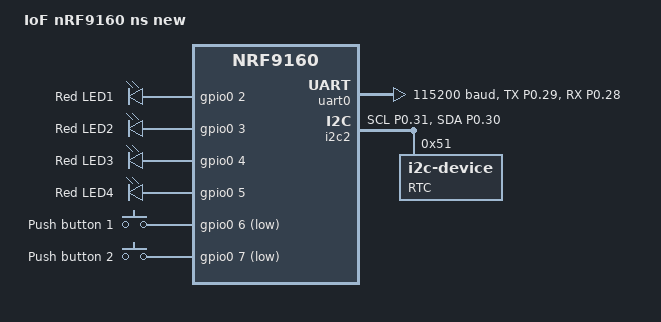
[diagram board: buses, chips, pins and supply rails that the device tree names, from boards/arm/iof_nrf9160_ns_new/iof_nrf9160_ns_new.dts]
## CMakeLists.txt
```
cmake_minimum_required(VERSION 3.20.0)

find_package(Zephyr REQUIRED HINTS $ENV{ZEPHYR_BASE})
project(cellular_fundamentals)

# NORDIC SDK APP START
target_include_directories(app PRIVATE include/)
target_include_directories(app PRIVATE drivers/include/)
target_include_directories(app PRIVATE tasks/MQTT_TASK/)
target_include_directories(app PRIVATE tasks/GNSS_TASK/)
target_include_directories(app PRIVATE tasks/RS485_TASK/)
target_include_directories(app PRIVATE tasks/RTC_TASK/)
target_include_directories(app PRIVATE tasks/TBR_SYNC_TASK/)
target_sources(app PRIVATE drivers/src/mqtt_connection.c)
target_sources(app PRIVATE drivers/src/gnss_connection.c)
target_sources(app PRIVATE drivers/src/rtc.c)
target_sources(app PRIVATE drivers/src/rs485.c)
target_sources(app PRIVATE drivers/src/leds.c)
target_sources(app PRIVATE drivers/src/adc.c)
target_sources(app PRIVATE tasks/MQTT_TASK/mqtt_task.c)
target_sources(app PRIVATE tasks/GNSS_TASK/gnss_task.c)
target_sources(app PRIVATE tasks/RS485_TASK/rs485_task.c)
target_sources(app PRIVATE tasks/RTC_TASK/rtc_task.c)
target_sources(app PRIVATE tasks/TBR_SYNC_TASK/tbr_sync_task.c)

target_sources(app PRIVATE src/main.c)


# NORDIC SDK APP END
```

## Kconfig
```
menu "FishIoT"

config MQTT_PUB_TOPIC
	string "MQTT publish topic"
	default "devacademy/publish/topic"

config MQTT_SUB_TOPIC
	string "MQTT subscribe topic"
	default "devacademy/subscribe/topic"

config MQTT_CLIENT_ID
	string "MQTT Client ID"
	help
	  Use a custom Client ID string. If not set, the client ID will be
	  generated based on IMEI number (for nRF9160 based targets) or
	  randomly (for other platforms).
	default ""

config MQTT_BROKER_HOSTNAME
	string "MQTT broker hostname"
	default "test.mosquitto.org"

config MQTT_BROKER_PORT
	int "MQTT broker port"
	default 1883

config MQTT_MESSAGE_BUFFER_SIZE
	int "MQTT message buffer size"
	default 128

config MQTT_PAYLOAD_BUFFER_SIZE
	int "MQTT payload buffer size"
	default 128

config BUTTON_EVENT_PUBLISH_MSG
	string "The message to publish on a button event"
	default "Hi from the nRF9160 SiP"

config TURN_LED_ON_CMD
	string "Command to turn on LED"
	default "LED1ON"

config TURN_LED_OFF_CMD
	string "Command to turn off LED"
	default "LED1OFF"

config BUTTON_EVENT_BTN_NUM
	int "The button number"
	default 1

config MQTT_RECONNECT_DELAY_S
	int "Seconds to delay before attempting to reconnect to the broker."
	default 60

config MQTT_TLS_SEC_TAG
	int "TLS credentials security tag"
	default 24

config MQTT_TLS_SESSION_CACHING
	bool "Enable TLS session caching"

config MQTT_TLS_PEER_VERIFY
	int "Set peer verification level"
	default 2
	help
		Set to 0 for VERIFY_NONE, 1 for VERIFY_OPTIONAL, and 2 for
		VERIFY_REQUIRED.

config GNSS_SAMPLE_ASSISTANCE_NRF_CLOUD
	bool "Use nRF Cloud A-GNSS"
	select NRF_CLOUD_REST
	imply NRF_CLOUD_AGNSS
	select MODEM_JWT
	select MODEM_INFO
	select DATE_TIME


config GNSS_PERIODIC_INTERVAL
	int "Fix interval for periodic GPS fixes"
	range 10 65535
	default 120
	help
	  Fix interval (in seconds) for periodic fixes.

config GNSS_PERIODIC_TIMEOUT
	int "Fix timeout for periodic GPS fixes"
	range 0 65535
	default 180
	help
	  Fix timeout (in seconds) for periodic fixes.
	  If set to zero, GNSS is allowed to run indefinitely until a valid PVT estimate is produced.
endmenu

source "Kconfig.zephyr"
```

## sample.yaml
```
sample:
  name: FishIoT
tests:
  samples.cellular.fundamentals_course:
    build_only: true
    platform_allow: nrf9160dk_nrf9160_ns thingy91_nrf9160_ns
    integration_platforms:
      - nrf9160dk_nrf9160_ns
      - thingy91_nrf9160_ns
    tags: ci_build
```

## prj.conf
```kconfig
# Logging
CONFIG_LOG=y

# # Button and LED support
# CONFIG_DK_LIBRARY=y

# Newlib
CONFIG_NEWLIB_LIBC=y

# Networking
CONFIG_NETWORKING=y
CONFIG_NET_NATIVE=n
CONFIG_NET_SOCKETS=y
CONFIG_NET_SOCKETS_OFFLOAD=y
CONFIG_NET_SOCKETS_POSIX_NAMES=y

# Memory
CONFIG_MAIN_STACK_SIZE=8192
CONFIG_HEAP_MEM_POOL_SIZE=4096
CONFIG_THREAD_NAME=y
CONFIG_SYSTEM_WORKQUEUE_STACK_SIZE=4096

#i2c
CONFIG_I2C=y

# Modem library
CONFIG_NRF_MODEM_LIB=y

#secure MQTT
CONFIG_MODEM_KEY_MGMT=y
# CONFIG_NRF_MODEM_LIB_SYS_INIT is deprecated, and kept for compatibility with older NCS versions
CONFIG_NRF_MODEM_LIB_SYS_INIT=n

# Enable the nRF9160 modem key management library
# CONFIG_MODEM_KEY_MGMT=y
# LTE link control
CONFIG_LTE_LINK_CONTROL=y
# CONFIG_LTE_AUTO_INIT_AND_CONNECT is deprecated, and kept for compatibility with older NCS versions
CONFIG_LTE_AUTO_INIT_AND_CONNECT=n

# MQTT

CONFIG_MQTT_LIB=y
CONFIG_MQTT_CLEAN_SESSION=y
CONFIG_MQTT_LIB_TLS=y

# Enable TLS for the MQTT library
# Application
CONFIG_MQTT_PUB_TOPIC="p/806"
CONFIG_MQTT_SUB_TOPIC="p/806"
CONFIG_MQTT_BROKER_HOSTNAME="otter.itk.ntnu.no"
CONFIG_MQTT_BROKER_PORT=8883
# CONFIG_MQTT_PUB_TOPIC="test"
# CONFIG_MQTT_SUB_TOPIC="test"
# CONFIG_BUTTON_EVENT_PUBLISH_MSG="Hi from nRF91"
# CONFIG_MQTT_BROKER_HOSTNAME="34.88.147.220"
# CONFIG_MQTT_BROKER_PORT=1883




# Request PSM periodic TAU and active time
CONFIG_LTE_PSM_REQ_RPTAU="00100010" #2hours
CONFIG_LTE_PSM_REQ_RAT="00000010" #4seconds

# Enable the modem’s network mode for GPS
CONFIG_LTE_NETWORK_MODE_LTE_M_NBIOT_GPS=y #defaults to LTE_M as priority
CONFIG_GNSS_PERIODIC_INTERVAL=140
CONFIG_GNSS_PERIODIC_TIMEOUT=360
#enable printing floating-point numbers to console.
CONFIG_NEWLIB_LIBC_FLOAT_PRINTF=y
CONFIG_FPU=y


#enable AGNSS
CONFIG_MODEM_INFO=y
CONFIG_MODEM_INFO_ADD_NETWORK=y
CONFIG_NRF_CLOUD_AGNSS=y
CONFIG_NRF_CLOUD_REST=y
CONFIG_MODEM_JWT=y
CONFIG_NRF_CLOUD_REST_AUTOGEN_JWT=n

CONFIG_NRF_CLOUD_CLIENT_ID_SRC_IMEI=n
CONFIG_NRF_CLOUD_CLIENT_ID_SRC_INTERNAL_UUID=y

CONFIG_NRF_CLOUD_GPS_LOG_LEVEL_DBG=y
CONFIG_NRF_CLOUD_LOG_LEVEL_DBG=y
CONFIG_DATE_TIME=y
CONFIG_DATE_TIME_MODEM=y
CONFIG_DATE_TIME_NTP=y


#DEBUG
CONFIG_DEBUG_OPTIMIZATIONS=y
CONFIG_DEBUG_THREAD_INFO=y

CONFIG_SERIAL=y
CONFIG_UART_INTERRUPT_DRIVEN=y

CONFIG_MODEM_ANTENNA=y
# CONFIG_MODEM_ANTENNA_GNSS_EXTERNAL=y

CONFIG_ADC=y

CONFIG_SYS_HEAP_RUNTIME_STATS=y



CONFIG_BOOT_BANNER=n
CONFIG_REBOOT=y


CONFIG_HWINFO=y
CONFIG_WATCHDOG=y

CONFIG_NRF_MODEM_LIB_ON_FAULT_APPLICATION_SPECIFIC=y
# CONFIG_NRF_MODEM_LIB_ON_FAULT_RESET_MODEM=y


CONFIG_THREAD_ANALYZER=y
CONFIG_THREAD_ANALYZER_AUTO=y

CONFIG_PM_DEVICE=y
# CONFIG_PM_DEVICE_SYSTEM_MANAGED=y
CONFIG_LOG_BUFFER_SIZE=10240
```

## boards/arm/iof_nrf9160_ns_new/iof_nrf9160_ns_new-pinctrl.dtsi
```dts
&pinctrl {
	uart0_default: uart0_default {
		group1 {
			psels = <NRF_PSEL(UART_TX, 0, 29)>, <NRF_PSEL(UART_RX, 0, 28)>,
					<NRF_PSEL(UART_RTS, 0, 27)>, <NRF_PSEL(UART_CTS, 0, 26)>;
		};
	};


    uart0_sleep: uart0_sleep{
        group1{
            psels = <NRF_PSEL(UART_TX, 0, 29)>, 
                    <NRF_PSEL(UART_RX, 0, 28)>,
					<NRF_PSEL(UART_RTS, 0, 27)>,
				 	<NRF_PSEL(UART_CTS, 0, 26)>;
            low-power-enable;
        };



    };


    i2c0_default: i2c0_default {
		group1 {
			psels = <NRF_PSEL(TWIM_SDA, 0, 30)>, <NRF_PSEL(TWIM_SCL, 0, 31)>;
		};
	};

	i2c0_sleep: i2c0_sleep {
		group1 {
			psels = <NRF_PSEL(TWIM_SDA, 0, 30)>, <NRF_PSEL(TWIM_SCL, 0, 31)>;
			low-power-enable;
		};
	};


};
```

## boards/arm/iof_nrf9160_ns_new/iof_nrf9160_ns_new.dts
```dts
// Copyright (c) 2024 Nordic Semiconductor ASA
// SPDX-License-Identifier: Apache-2.0

/dts-v1/;
#include <nordic/nrf9160ns_sica.dtsi>
// #include "iof_nrf9160_ns_new-pinctrl.dtsi"
/ {
	model = "IoF nRF9160 ns new";
	compatible = "ntnu-cybernetics,iof-nrf9160-ns-new";

	chosen {
		zephyr,sram = &sram0;
		zephyr,flash = &flash0;
		zephyr,code-partition = &slot0_ns_partition;
		zephyr,console = &uart0;
		zephyr,shell-uart = &uart0;
		zephyr,uart-mcumgr = &uart0;
	};

	leds {
		compatible = "gpio-leds";
		led1: led_1 {
			gpios = <&gpio0 2 0>;
			label = "Red LED1";
		};

		led2: led_2 {
			gpios = <&gpio0 3 0>;
			label = "Red LED2";
		};

		led3: led_3 {
			gpios = <&gpio0 4 0>;
			label = "Red LED3";
		};

		led4: led_4 {
			gpios = <&gpio0 5 0>;
			label = "Red LED4";
		};
	};

	buttons {
		compatible = "gpio-keys";
		button1: button_1 {
			gpios = <&gpio0 6 (GPIO_ACTIVE_LOW | GPIO_PULL_UP)>;
			label = "Push button 1";
		};

		button2: button_2 {
			gpios = <&gpio0 7 (GPIO_ACTIVE_LOW | GPIO_PULL_UP)>;
			label = "Push button 2";
		};
	};

	aliases {
		led0 = &led1;
		led1 = &led2;
		led2 = &led3;
		led3 = &led4;
		sw0  = &button1;
		sw1  = &button2;
		bootloader-led0 = &led1;
		mcuboot-button0 = &button1;
		mcuboot-led0 = &led1;
		watchdog0 = &wdt0;
	};
};

&flash0 {
	partitions {
		compatible = "fixed-partitions";
		#address-cells = <1>;
		#size-cells = <1>;

		boot_partition: partition@0 {
			label = "mcuboot";
			reg = <0x0 0x10000>;
		};
		slot0_partition: partition@10000 {
			label = "image-0";
			reg = <0x10000 0x40000>;
		};
		slot0_ns_partition: partition@50000 {
			label = "image-0-nonsecure";
			reg = <0x50000 0x30000>;
		};
		slot1_partition: partition@80000 {
			label = "image-1";
			reg = <0x80000 0x40000>;
		};
		slot1_ns_partition: partition@c0000 {
			label = "image-1-nonsecure";
			reg = <0xc0000 0x30000>;
		};
		scratch_partition: partition@f0000 {
			label = "image-scratch";
			reg = <0xf0000 0xa000>;
		};
		storage_partition: partition@fa000 {
			label = "storage";
			reg = <0xfa000 0x6000>;
		};
	};
};


&gpio0 {
	status = "okay";
};

&gpiote {
	status = "okay";
};


&pinctrl {


	uart0_default: uart0_default {
		group1 {
			psels = <NRF_PSEL(UART_TX, 0, 29)>;
		};
        group2 {
            psels = <NRF_PSEL(UART_RX, 0, 28)>;
        };

	};
	/* required if CONFIG_PM_DEVICE=y */
	uart0_sleep: uart0_sleep {
		group1 {
			psels = <NRF_PSEL(UART_TX, 0, 29)>,
					<NRF_PSEL(UART_RX, 0, 28)>;
			low-power-enable;
		};
	};

	i2c2_default: i2c2_default {
		group1 {
			psels = <NRF_PSEL(TWIM_SCL, 0, 31)>, <NRF_PSEL(TWIM_SDA, 0, 30)>;
		};
	};

	i2c2_sleep: i2c2_sleep {
		group1 {
			psels = <NRF_PSEL(TWIM_SCL, 0, 31)>, 
					<NRF_PSEL(TWIM_SDA, 0, 30)>;
			low-power-enable;
		};
	};
};
&uart0 {
	status = "okay";
	pinctrl-0 = <&uart0_default>;
	pinctrl-1 = <&uart0_sleep>;
	pinctrl-names = "default", "sleep";
	current-speed = <115200>;
	label = "USB Uart debug";

};

&i2c2 {
	status = "okay";
	pinctrl-0 = <&i2c2_default>;
	pinctrl-1 = <&i2c2_sleep>;
	pinctrl-names = "default", "sleep";
	label = "I2C RTC RV3032";

	rv3032: rv3032@51{
        compatible = "i2c-device";
        reg = < 0x51 >;
        label = "RTC";
    };
};
```

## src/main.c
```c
/*
* FishIoT Main Application
* MCU:nRF9160
*
* Author: Tsotne Karchava
* Created: 10.10.2023
*/

#include <zephyr/logging/log.h>
#include <date_time.h>
#include <zephyr/sys/reboot.h>
//LTE
#include <modem/nrf_modem_lib.h>
#include <modem/lte_lc.h>
//header file for MQTT
// #include "rtc.h"
#include "leds.h"
#include "structs.h"
#include "rs485_task.h"
#include "mqtt_task.h"
#include "gnss_task.h"
#include "rtc_task.h"
#include "tbr_sync_task.h"
#include <zephyr/debug/thread_analyzer.h>

#define STACKSIZE 2048
#define MQTT_THREAD_PRIORITY 9
#define RTC_THREAD_PRIORITY 7
#define RS485_THREAD_PRIORITY 6
#define GNSS_THREAD_PRIORITY 8
#define TBR_SYNC_THREAD_PRIORITY 5
#define GNSS_START_PERIOD_THREAD_PRIORITY 4

//fault handling
#define MODEM_FAULT_THREAD_PRIORITY 2

bool RTC_TIME_SET = false;


LOG_MODULE_REGISTER(FishIoT, LOG_LEVEL_INF);

K_MSGQ_DEFINE(IoFHEADER_MSG, sizeof(IoF_header), 32, sizeof(uint32_t));
K_MSGQ_DEFINE(IoFTBR_Status_MSG, sizeof(IoF_TBR_status), 16, sizeof(uint32_t));
K_MSGQ_DEFINE(IoFTBR_TAG_MSG, sizeof(IoF_TBR_tag), 16, sizeof(uint32_t));
K_MSGQ_DEFINE(IoFBuoy_Status_MSG, sizeof(IoF_bouy_status), 16, sizeof(uint32_t));


//semaphores
K_SEM_DEFINE(modem_fault_sem, 0, 1);
static K_SEM_DEFINE(lte_connected, 0, 1);
static K_SEM_DEFINE(time_sem, 0, 1);
static K_SEM_DEFINE(time_read_sem, 0, 1);

K_SEM_DEFINE(gnss_start_sem, 0, 1);

// K_SEM_DEFINE(rtc_write_fix_sem, 0, 1);
K_SEM_DEFINE(rtc_esyn_sem, 0, 1);

K_SEM_DEFINE(gnss_thread_sem, 0 , 1);

K_SEM_DEFINE(mqtt_pub_sem, 0, 1);
K_SEM_DEFINE(mqtt_pub_thread_start, 0, 1);
K_SEM_DEFINE(mqtt_pub_done_sem, 0, 1);

//fault
K_SEM_DEFINE(block_mqtt_on_fault_sem, 0, 1);


K_SEM_DEFINE(mqtt_lock_mutex, 0, 1);
K_SEM_DEFINE(gnss_lock_mutex, 0, 1);
uint16_t TBSN; //tbr serial number

//Function prototypes
static int modem_configure(void);

//handlers
static void lte_handler(const struct lte_lc_evt *const evt);

//thread definitions
K_THREAD_STACK_DEFINE(mqtt_thread_id, STACKSIZE);
K_THREAD_STACK_DEFINE(rtc_thread_id, STACKSIZE);
K_THREAD_STACK_DEFINE(rs485_thread_id, STACKSIZE);
K_THREAD_STACK_DEFINE(gnss_thread_id, STACKSIZE);
K_THREAD_STACK_DEFINE(tbr_sync_thread_id, STACKSIZE/2);
K_THREAD_STACK_DEFINE(gnss_start_period_thread_id, STACKSIZE/4);

//fault hanlding
K_THREAD_STACK_DEFINE(modem_fault_thread_id, STACKSIZE);



struct k_thread mqtt_pub_thread_struct;
struct k_thread rtc_thread_struct;
struct k_thread rs485_thread_struct;
struct k_thread gnss_thread_struct;
struct k_thread tbr_sync_thread_struct;
struct k_thread gnss_start_period_thread_struct;

//fault hanlding
struct k_thread modem_fault_thread_struct;


k_tid_t rtc_thread_tid;
k_tid_t gnss_thread_tid;
k_tid_t mqtt_thread_tid;
k_tid_t tbr_sync_thread_tid;
k_tid_t gnss_start_period_thread_tid;


static void date_time_evt_handler(const struct date_time_evt *evt)
{
	k_sem_give(&time_sem);
}

static void lte_handler(const struct lte_lc_evt *const evt)
{
     switch (evt->type) {
     case LTE_LC_EVT_NW_REG_STATUS:
        if ((evt->nw_reg_status != LTE_LC_NW_REG_REGISTERED_HOME) &&
            (evt->nw_reg_status != LTE_LC_NW_REG_REGISTERED_ROAMING)) {
            break;
        }
		LOG_INF("Network registration status: %s",
				evt->nw_reg_status == LTE_LC_NW_REG_REGISTERED_HOME ?
				"Connected - home network" : "Connected - roaming");
		k_sem_give(&lte_connected);
        break;
	case LTE_LC_EVT_RRC_UPDATE:
		LOG_INF("RRC mode: %s", evt->rrc_mode == LTE_LC_RRC_MODE_CONNECTED ?
				"Connected" : "Idle");
		if(evt->rrc_mode == LTE_LC_RRC_MODE_IDLE){
			if(!first_fix)
				k_sem_give(&gnss_start_sem);

			k_sem_give(&gnss_lock_mutex);
			// k_sem_give(&mqtt_lock_mutex);

		}
		break;
	case LTE_LC_EVT_PSM_UPDATE:
		LOG_INF("PSM parameter update: TAU: %d, Active time: %d",
			evt->psm_cfg.tau, evt->psm_cfg.active_time);
		if (evt->psm_cfg.active_time == -1){
			LOG_ERR("Network rejected PSM parameters. Failed to enable PSM");
		}	
		break;
	case LTE_LC_EVT_MODEM_SLEEP_EXIT:
		LOG_INF("Modem exited from sleep.");
		break;
	case LTE_LC_EVT_MODEM_SLEEP_ENTER:
		LOG_INF("Modem entered sleep.");
		break;
     default:
        break;
     }
}

bool modem_fault = false;

static void restart_on_fault(void *p1, void *p2, void *p3)
{
	while(true)
	{
		k_sem_take(&modem_fault_sem, K_FOREVER);
		thread_analyzer_print();
	  	//sys_reboot(SYS_REBOOT_COLD);
       //  k_yield();
		LOG_ERR("REINITALIZING MODEM!\n");
		(void)nrf_modem_lib_shutdown();
        LOG_INF("MODEM SHUTDOWN OK\n");
		k_sleep(K_MSEC(500));

		int err = nrf_modem_lib_init();
	    if (err) {
		LOG_ERR("failed to initialize modem library, error: %d", err);
		}

        // LOG_INF("MODEM INIT OK\n");
		// /* lte_lc_init deprecated in >= v2.6.0 */
		// #if NCS_VERSION_NUMBER < 0x20600
		// err = lte_lc_init();
		// if (err) {
		// 	LOG_ERR("Failed to initialize LTE link control library, error: %d", err);
		// }
		// #endif
        // LOG_INF("MODEM LC INIT OK\n");
		// //enable PSM
		// err = lte_lc_psm_req(true);
		// if (err) {
		// 	LOG_ERR("lte_lc_psm_req, error: %d", err);
		// }

		// LOG_INF("Connecting to LTE network");

		// // lte_lc_register_handler(lte_handler);

		// if (lte_lc_connect() != 0) {
		// 	LED_ERROR_CODE(LTE_NETWORK_CONNECT_ERROR);
		// 	LOG_ERR("Failed to connect to LTE network");
		// }

		// if (lte_lc_func_mode_set(LTE_LC_FUNC_MODE_NORMAL) != 0) {
		// LOG_ERR("Failed to activate GNSS functional mode");
		// }

		k_sem_give(&block_mqtt_on_fault_sem);
	}
}

void nrf_modem_fault_handler(struct nrf_modem_fault_info *fault_info){
	LOG_ERR("NRFMODEM FAULT HANDLER, ERROR: %d\n", fault_info->reason);
	//restart the modem
	if(fault_info->reason == NRF_MODEM_FAULT_PANIC)
	{
		modem_fault = true;
		k_sem_give(&modem_fault_sem);
	}
}

static int modem_configure(void)
{
	int err;

	LOG_INF("Initializing modem library");
	
	err = nrf_modem_lib_init();
	if (err) {
		LOG_ERR("Failed to initialize the modem library, error: %d", err);
		return err;
	}
	
	#if(CONFIG_MQTT_LIB_TLS)
	/*  Store the certificate in the modem while the modem is in offline mode  */
	err = certificate_provision();
	if (err != 0) {
		LOG_ERR("Failed to provision certificates");
		return 1;
	}
	#endif

	/* lte_lc_init deprecated in >= v2.6.0 */
	#if NCS_VERSION_NUMBER < 0x20600
	err = lte_lc_init();
	if (err) {
		LOG_ERR("Failed to initialize LTE link control library, error: %d", err);
		return err;
	}
	#endif

	//enable PSM
	err = lte_lc_psm_req(true);
	if (err) {
		LOG_ERR("lte_lc_psm_req, error: %d", err);
	}

	LOG_INF("Connecting to LTE network");

	lte_lc_register_handler(lte_handler);

	if (lte_lc_connect() != 0) {
		LED_ERROR_CODE(LTE_NETWORK_CONNECT_ERROR);
		LOG_ERR("Failed to connect to LTE network");
		return 1;
	}

	LOG_INF("Connected to LTE network");
	err = date_time_update_async(date_time_evt_handler);
	if(err){
		LOG_ERR("Date time update handler failed");
	}	

	LOG_INF("Waiting for current time");	
	/* Wait for an event from the Date Time library. */
	k_sem_take(&time_sem, K_MINUTES(1));
		
	if (!date_time_is_valid()) {
		LOG_WRN("Failed to get current time, continuing anyway");
		//date time couldn't be receieved under 1 minute or it is wrong.
	}

	LOG_INF("Received current time successfully!");
	return 0;
}


// void thread_analyzer_cb(struct thread_analyzer_info *info){
	
// }



int main(void)
{
	int err;
	
  	// thread_analyzer_run(thread_analyzer_cb);
	// thread_analyzer_print();
	LOG_INF("Starting Application IoF...\n");
	// k_mutex_lock(&mqtt_lock_mutex, K_FOREVER);	
	if(led_button_init() != 0){
		LOG_ERR("Failed to initialize LED and Buttons");
		return 1;
	}
	
	if(rtc_init()!=0){
		LOG_ERR("Failed to initialize RTC\n");
		LED_ERROR_CODE(RTC_INIT_ERROR);
		LOG_INF("Waiting for 1 minute before restarting the chip\n");
		k_busy_wait(1*1000*1000*60);
		sys_reboot(SYS_REBOOT_COLD);
		return 1;
	};


	
	if(adc_init()!=0){
		LOG_ERR("Failed to initialize ADC");
		LED_ERROR_CODE(ADC_INIT_ERROR);
		LOG_INF("Waiting for 1 minute before restarting the chip\n");
		k_busy_wait(1*1000*1000*60);
		sys_reboot(SYS_REBOOT_COLD);
		return 1;
	}

	LOG_INF("Enabling modem...\n");
	err = modem_configure();
	if (err) {
		LOG_ERR("Failed to configure the modem");
		LOG_INF("Waiting for 1 minute before restarting the chip\n");
		k_busy_wait(1*1000*1000*60);
		sys_reboot(SYS_REBOOT_WARM);
		return 1;
	}

	// k_sem_give(&mqtt_pub_thread_start);
	mqtt_thread_tid = k_thread_create(&mqtt_pub_thread_struct, mqtt_thread_id, K_THREAD_STACK_SIZEOF(mqtt_thread_id), mqtt_thread, NULL,NULL,NULL, MQTT_THREAD_PRIORITY, 0, K_NO_WAIT);

	err = rs485_init();
	if(err){
		LOG_ERR("Failed to initialize RS485 - TBRLIVE");
		LED_ERROR_CODE(RS485_INIT_ERROR);
		LOG_INF("Waiting for 1 minute before restarting the chip\n");
		k_busy_wait(1*1000*1000*60);
		sys_reboot(SYS_REBOOT_COLD);
		return 1;
	}
	
	//if Time is valid then update TBR live enoch time.
	uint64_t unix_time_ms;
	/*Read current time and put in container */
	err = date_time_now(&unix_time_ms);
	//write enoch time to TBRLive
	err = rs485_updatetime(unix_time_ms);
	if(err != 0){
		LOG_ERR("Couldn't update RS485 time...\n");
	}	
	
	err = gnss_task_agps_process_start();
	if (err != 0)
	{
		LOG_INF("Waiting for 1 minute before restarting the chip\n");
		k_busy_wait(1*1000*1000*60);
		sys_reboot(SYS_REBOOT_COLD);
	}
	
	//fault handling
	k_tid_t modem_fault_tid = k_thread_create(&modem_fault_thread_struct, modem_fault_thread_id, K_THREAD_STACK_SIZEOF(modem_fault_thread_id), restart_on_fault, NULL,NULL,NULL, MODEM_FAULT_THREAD_PRIORITY, 0, K_NO_WAIT);


	rtc_thread_tid = k_thread_create(&rtc_thread_struct, rtc_thread_id, K_THREAD_STACK_SIZEOF(rtc_thread_id), rtc_thread, NULL,NULL,NULL, RTC_THREAD_PRIORITY, 0, K_FOREVER);

	gnss_thread_tid = k_thread_create(&gnss_thread_struct, gnss_thread_id, K_THREAD_STACK_SIZEOF(gnss_thread_id), gnss_thread, NULL,NULL,NULL, GNSS_THREAD_PRIORITY, 0, K_FOREVER);

	k_tid_t rs485_thread_tid = k_thread_create(&rs485_thread_struct, rs485_thread_id, K_THREAD_STACK_SIZEOF(rs485_thread_id), rs485_thread, NULL,NULL,NULL, RS485_THREAD_PRIORITY, 0, K_NO_WAIT);
	tbr_sync_thread_tid = k_thread_create(&tbr_sync_thread_struct, tbr_sync_thread_id, K_THREAD_STACK_SIZEOF(tbr_sync_thread_id), tbr_sync_thread, NULL,NULL,NULL, TBR_SYNC_THREAD_PRIORITY, 0, K_FOREVER);
	
	gnss_start_period_thread_tid = k_thread_create(&gnss_start_period_thread_struct, gnss_start_period_thread_id, K_THREAD_STACK_SIZEOF(gnss_start_period_thread_id), gnss_start_period_thread, NULL,NULL,NULL, GNSS_START_PERIOD_THREAD_PRIORITY, 0, K_FOREVER);



	
	return 0;
}
```

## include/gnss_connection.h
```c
#ifndef _GNSSCONNECTION_H_
#define _GNSSCONNECTION_H_

#include <stdint.h>

//GNSS
extern int64_t gnss_start_time;
//PVT data frame variables,
extern struct nrf_modem_gnss_pvt_data_frame pvt_data;
extern uint8_t first_fix;

void print_fix_data(struct nrf_modem_gnss_pvt_data_frame *pvt_data);
int agps_receive_process_data(void);
int gnss_init_and_start(void);
void gnss_event_handler(int event);
void data_formatter(struct nrf_modem_gnss_pvt_data_frame *pvt_data);

#endif
```

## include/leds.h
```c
#ifndef _LEDS_H_
#define _LEDS_H_
#include <zephyr/kernel.h>
#include <zephyr/device.h>
#include <zephyr/devicetree.h>
#include <zephyr/drivers/gpio.h>
#include <stdint.h>

//switches
#define SW0_NODE	DT_ALIAS(sw0)
#define SW1_NODE	DT_ALIAS(sw1)





#define LED0_NODE DT_ALIAS(led0)
#define LED1_NODE DT_ALIAS(led1)
#define LED2_NODE DT_ALIAS(led2)
#define LED3_NODE DT_ALIAS(led3)



typedef enum{
    BOARD_LED0,
    BOARD_LED1,
    BOARD_LED2,
    BOARD_LED3
}boardleds;


//total 16 combinations
typedef enum{
    RTC_INIT_ERROR,
    ADC_INIT_ERROR,
    LTE_NETWORK_CONNECT_ERROR,
    RS485_INIT_ERROR,
    AGPS_RECEIVE_ERROR,
    GNSS_INIT_ERROR,
    MQTT_CONNECT_ERROR,
    MQTT_LIVE_ERROR,
    MQTT_INPUT_ERROR,
    MQTT_PUBLISH_ERROR,
    
} led_errors;
void button_pressed(const struct device *dev, struct gpio_callback *cb, uint32_t pins);
uint8_t led_button_init(void);
void LED_ON(uint8_t LED);
void LED_OFF(uint8_t LED);
void LED_ERROR_CODE(uint8_t LED_ERROR);
#endif
```

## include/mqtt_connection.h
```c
#ifndef _MQTTCONNECTION_H_
#define _MQTTCONNECTION_H_

#include <zephyr/net/mqtt.h>
#include <zephyr/net/socket.h>


#define LED_CONTROL_OVER_MQTT          DK_LED1 /*The LED to control over MQTT*/
#define IMEI_LEN 15
#define CGSN_RESPONSE_LENGTH (IMEI_LEN + 6 + 1) /* Add 6 for \r\nOK\r\n and 1 for \0 */
#define CLIENT_ID_LEN sizeof("nrf-") + IMEI_LEN
/**@brief Initialize the MQTT client structure
 */
int client_init(struct mqtt_client *client);

/**@brief Initialize the file descriptor structure used by poll.
 */
int fds_init(struct mqtt_client *c, struct pollfd *fds);

/**@brief Function to publish data on the configured topic
 */
int data_publish(struct mqtt_client *c, enum mqtt_qos qos,
	uint8_t *data, size_t len);


int certificate_provision(void);

#endif /* _CONNECTION_H_ */
```

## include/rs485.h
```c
#ifndef _RS485_H_
#define _RS485_H_
#include <stdint.h>
#define MSG_SIZE 60

extern struct k_msgq uart_msgq;
extern struct k_sem uart_rec_sem; 
extern struct k_sem tbr_sync_task_sem;

extern char rx_buf[MSG_SIZE];

typedef enum
{
    R256,
    R04K,
    R64K,
    S256,
    R01M,
    S64K,
    HS256,
    DS256

} TBR_protocols;

uint8_t rs485_rounduptime(void);

uint8_t rs485_init(void);
uint8_t rs485_transmit(void);
uint8_t rs485_extractserialnnumber(void);
uint8_t rs485_updatetime(uint64_t unix_time_ms);
void print_uart(char *buf);

#endif
```

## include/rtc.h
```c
#ifndef _DEVICES_HEADER_RTC_H_
#define _DEVICES_HEADER_RTC_H_

#include <stdint.h>
#include <stdbool.h>
#include <nrf_modem_gnss.h>
#include <zephyr/drivers/i2c.h>

#define RTC_EEPROM_PMU      0xC0
#define RTC_EEPROM_Offset   0xC1
#define RTC_EEPROM_Clkout_1 0xC2
#define RTC_EEPROM_Clkout_2 0xC3

#define RTC_100_Sec 0x00
#define RTC_Sec     0x01
#define RTC_Min     0x02
#define RTC_Hours   0x03
#define RTC_Weekday 0x04
#define RTC_Date    0x05
#define RTC_Month   0x06
#define RTC_Year    0x07
#define RTC_Timer_Value_0   0x0B
#define RTC_Timer_Value_1   0x0C
#define RTC_Status          0x0D
#define RTC_TEMP_LSB        0x0E
#define RTC_TEMP_MSB        0x0F
#define RTC_Control_1       0x10
#define RTC_Control_2       0x11
#define RTC_Control_3       0x12
#define RTC_TS_Control       0x13
#define RTC_Clock_Int_Mask  0x14
#define RTC_EVI_Control     0x15
#define RTC_TS_EVI_Count    0x26
#define RTC_TS_EVI_100_Sec  0x27
#define RTC_TS_EVI_Sec      0x28
#define RTC_TS_EVI_Min      0x29
#define RTC_TS_EVI_Hours    0x2A
#define RTC_TS_EVI_Date     0x2B
#define RTC_TS_EVI_Month    0x2C
#define RTC_TS_EVI_Year     0x2D

#define RTC_Status_THF      (1 << 7)
#define RTC_Status_TLF      (1 << 6)
#define RTC_Status_UF       (1 << 5)
#define RTC_Status_TF       (1 << 4)
#define RTC_Status_AF       (1 << 3)
#define RTC_Status_EVF      (1 << 2)
#define RTC_Status_PORF     (1 << 1)
#define RTC_Status_VLF      (1 << 0)

#define RTC_Control_1_GP0      (1 << 5)
#define RTC_Control_1_USEL     (1 << 4)
#define RTC_Control_1_TE       (1 << 3)
#define RTC_Control_1_EERD     (1 << 2)
#define RTC_Control_1_TD_4096  (0 << 0)
#define RTC_Control_1_TD_64    (1 << 0)
#define RTC_Control_1_TD_1     (2 << 0)
#define RTC_Control_1_TD_160   (3 << 0)

#define RTC_Control_2_CLKIE    (1 << 6)
#define RTC_Control_2_UIE      (1 << 5)
#define RTC_Control_2_TIE      (1 << 4)
#define RTC_Control_2_AIE      (1 << 3)
#define RTC_Control_2_EIE      (1 << 2)
#define RTC_Control_2_GP1      (1 << 1)
#define RTC_Control_2_STOP     (1 << 0)

#define RTC_Control_3_BSIE     (1 << 4)
#define RTC_Control_3_THE      (1 << 3)
#define RTC_Control_3_TLE      (1 << 2)
#define RTC_Control_3_THIE     (1 << 1)
#define RTC_Control_3_TLIE     (1 << 0)

#define RTC_TS_Control_EVR      (1 << 5)
#define RTC_TS_Control_THR      (1 << 4)
#define RTC_TS_Control_TLR      (1 << 3)
#define RTC_TS_Control_EVOW     (1 << 2)
#define RTC_TS_Control_THOW     (1 << 1)
#define RTC_TS_Control_TLOW     (1 << 0)

#define RTC_Clock_Int_Mask_CLKD     (1 << 7)
#define RTC_Clock_Int_Mask_INTDE    (1 << 6)
#define RTC_Clock_Int_Mask_CEIE     (1 << 5)
#define RTC_Clock_Int_Mask_CAIE     (1 << 4)
#define RTC_Clock_Int_Mask_CTIE     (1 << 3)
#define RTC_Clock_Int_Mask_CUIE     (1 << 2)
#define RTC_Clock_Int_Mask_CTHIE    (1 << 1)
#define RTC_Clock_Int_Mask_CTLIE    (1 << 0)

#define RTC_EVI_Control_CLKDE    (1 << 7)
#define RTC_EVI_Control_EHL      (1 << 6)
#define RTC_EVI_Control_ET_None  (0 << 4)
#define RTC_EVI_Control_ET_256   (1 << 4)
#define RTC_EVI_Control_ET_64    (2 << 4)
#define RTC_EVI_Control_ET_8     (3 << 4)
#define RTC_EVI_Control_ESYN     (1 << 0)

#define RTC_EEPROM_PMU_NCLKE    (1 << 6)
#define RTC_EEPROM_PMU_BSM_SOD  (0 << 4)
#define RTC_EEPROM_PMU_BSM_DSM  (1 << 4)
#define RTC_EEPROM_PMU_BSM_LSM  (2 << 4)
#define RTC_EEPROM_PMU_TCR_06   (0 << 2)
#define RTC_EEPROM_PMU_TCR_2    (1 << 2)
#define RTC_EEPROM_PMU_TCR_7    (2 << 2)
#define RTC_EEPROM_PMU_TCR_12   (3 << 2)
#define RTC_EEPROM_PMU_TCM_Off  (0 << 0)
#define RTC_EEPROM_PMU_TCM_175  (1 << 0)
#define RTC_EEPROM_PMU_TCM_3    (2 << 0)
#define RTC_EEPROM_PMU_TCM_45   (3 << 0)

#define RTC_EEPROM_Offset_PORIE    (1 << 7)
#define RTC_EEPROM_Offset_VLIE     (1 << 6)
#define RTC_EEPROM_Offset_Offset   (1 << 0)

#define RTC_EEPROM_Clkout_2_OS      (1 << 7)
#define RTC_EEPROM_Clkout_2_FD_32k  (0 << 5)
#define RTC_EEPROM_Clkout_2_FD_1k   (1 << 5)
#define RTC_EEPROM_Clkout_2_FD_64   (2 << 5)
#define RTC_EEPROM_Clkout_2_FD_1    (3 << 5)

#define RTC_ENABLE_CLKOUT 1



//months
typedef enum{
JANUARY   = 0,
FEBRUARY  = 3,
MARCH     = 3,
APRIL     = 6,
MAY       = 1,
JUNE      = 4,
JULY      = 6,
AUGUST    = 2,
SEPTEMBER = 5,
OCTOBER   = 0, 
NOVEMBER  = 3,
DECEMBER  = 5
} rtc_months;
//weekdays
typedef enum{
  SUNDAY,
  MONDAY,
  TUESDAY,
  WEDNESDAY,
  THURSDAY,
  FRIDAY,
  SATURDAY
} rtc_weekdays;


typedef struct {
  bool    valid_time;

  uint8_t  year;
  uint8_t  month;
  uint8_t  day;
  uint8_t  weekday;
  uint8_t  hour;
  uint8_t  min;
  uint8_t  sec;
  uint16_t  sec100;

} rtc_time_bcd_t;

typedef struct {
  bool    valid_time;

  uint8_t  year;
  uint8_t  month;
  uint8_t  day;
  uint8_t  weekday;
  uint8_t  hour;
  uint8_t  minute;
  uint8_t  seconds;
  uint16_t  sec100;

} rtc_time_dec_t;


extern rtc_time_dec_t rtc_time;
extern rtc_time_bcd_t time_bcd;
// rtc_time_bcd_t test_time;

// rtc_time_bcd_t gps_time_last_sync_bcd;
// // nav_data_t gps_fix_last_sync;
// uint8_t rtc_convert_time_from_gps_finished;
// uint32_t rtc_4096_signal_count;
// uint8_t rtc_start_sync_with_gps;
// uint8_t rtc_second_offset_to_gps;

uint8_t rtc_init(void);
int16_t rtc_read_temp(void);

uint8_t rtc_i2c_write(uint8_t address, uint8_t data);
uint8_t rtc_i2c_write_datetime(rtc_time_bcd_t datetime);
uint8_t rtc_i2c_read(uint8_t address, uint8_t num_bytes);
// void rtc_read_than_write(uint8_t address, uint8_t data, uint8_t positive);
void rtc_reset_eeprom();
void rtc_reset();

// void rtc_sync();
// void rtc_convert_nav_data_into_bcd_format(nav_data_t nav_data);
// void rtc_synchronize_seconds();
uint8_t rtc_read_time_data(void);
// void rtc_write_time_data(rtc_time_bcd_t time_data, uint8_t bytes, uint8_t offset);
// void rtc_write_time_data_stop(rtc_time_bcd_t time_data, uint8_t bytes);
// void rtc_write_time_data_esyn(rtc_time_bcd_t time_data, uint8_t bytes);

void rtc_evi_init();
// void rtc_generate_evi_interrupt();
// void rtc_clear_time_stamp_evi();
// rtc_time_bcd_t rtc_read_time_stamp_evi();

// rtc_time_dec_t rtc_convert_time_struct_bcd_to_decimal(rtc_time_bcd_t time_bcd);
// rtc_time_bcd_t rtc_convert_time_struct_decimal_to_bcd(rtc_time_dec_t time_dec);
uint16_t rtc_convert_bcd_to_decimal(uint16_t time_bcd);
uint16_t rtc_convert_decimal_to_bcd(uint16_t time_dec);

uint8_t rtc_convert_nav_data_into_bcd_format(rtc_time_dec_t datetime);

uint8_t rtc_write_fix_data_first(struct nrf_modem_gnss_pvt_data_frame *pvt_data);
uint8_t rtc_sync_nav_second(void);





#endif
```

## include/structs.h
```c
#ifndef _SEMAPHORES_STRUCTS_H_
#define _SEMAPHORES_STRUCTS_H_
#include <stdint.h>


#define BAT_VOLTAGE_NOMINAL_MV 3600
typedef enum{
	TBR_status_or_tag,
	buoy_status,
	GPS_cycle
} IoF_header_flags;

typedef struct{
	uint16_t TBRserial; //TBR serial[0:13] and header flag[14:15]
	uint8_t headerflag;
	uint32_t reftimestamp; //Reference timestamp (UTC)
	uint8_t Tbr_message_type;
} IoF_header;


typedef struct{
	uint8_t secsince_timestamp;
	uint8_t code_type;
	uint16_t temperature;
	uint8_t noise_ave;
	uint8_t noise_peak;
	uint8_t snr_detection; 
	uint8_t upper_timing_err;
} IoF_TBR_status;

typedef struct{
	uint8_t secsince_timestamp;
	uint8_t code_type;
	uint32_t tag_id; //allprotocols
	uint8_t tag_payload; //Tag ID (protocol: R04K, R64K, R01M, S64K, HS256, DS256)
 							//or Tag payload (protocol: S256)
 							//or Not used (protocol: R256)
	uint8_t SNR;
	uint16_t milliseconds;

    uint8_t protocol;
	
} IoF_TBR_tag;

typedef struct{
	uint8_t batvoltage;
	uint8_t airtemp;
	uint32_t longitude;
	uint8_t PDOP; //pdop [8:14], lat[15]
	uint32_t latitude;
	uint8_t fix;
	uint8_t num_of_sattelites;
}IoF_bouy_status;


#endif
```

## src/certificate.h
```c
#define CA_CERTIFICATE \
"-----BEGIN CERTIFICATE-----\n" \
"MIID/TCCAuWgAwIBAgIUbhPhrW/F3C/+up00CCdvwTTpfvEwDQYJKoZIhvcNAQEL\n" \
"BQAwgY0xCzAJBgNVBAYTAk5PMRIwEAYDVQQIDAlUcm9uZGVsYWcxEjAQBgNVBAcM\n" \
"CVRyb25kaGVpbTENMAsGA1UECgwETlROVTENMAsGA1UECwwEVEVTVDEWMBQGA1UE\n" \
"AwwNMzQuODguMTE5LjExNDEgMB4GCSqGSIb3DQEJARYRdGVzdEB0ZXN0bWFpbC5j\n" \
"b20wHhcNMjMxMDEyMTMzNjA2WhcNMjgxMDExMTMzNjA2WjCBjTELMAkGA1UEBhMC\n" \
"Tk8xEjAQBgNVBAgMCVRyb25kZWxhZzESMBAGA1UEBwwJVHJvbmRoZWltMQ0wCwYD\n" \
"VQQKDAROVE5VMQ0wCwYDVQQLDARURVNUMRYwFAYDVQQDDA0zNC44OC4xMTkuMTE0\n" \
"MSAwHgYJKoZIhvcNAQkBFhF0ZXN0QHRlc3RtYWlsLmNvbTCCASIwDQYJKoZIhvcN\n" \
"AQEBBQADggEPADCCAQoCggEBAL1yCe89hjVIYW6T0J/mqTGyj5Ftq3VGQDHlMcFf\n" \
"S3MP3acH2O/tIcJqukY7vmKTT0R+F/NA5Gb4rH+LTkYQoN0xgw8NCEZ66ttSyALT\n" \
"QrtX7IPMYCGCIQB1sE8lDuWSAcKpdb+wsXKc6BhKivwvjx+Sz/5gul51zIPT68Om\n" \
"VHtfz13tNU4fywTPENMS3j1zFPfYLlBAmnHAeF9WoeMH370qmpiVpYmgTZ1pSb9C\n" \
"0DKcBzv7RvAmB14Mf8YlSdX2JBY68jRCqbxr/LcLUEyrdfVyI3GyMxmoPaY1GvWU\n" \
"YOMhLuwIgB2oWCJVplKsDlCfnIWhMrT6gR4X8gJtyVd7H9ECAwEAAaNTMFEwHQYD\n" \
"VR0OBBYEFBaHnps9viYbhwE59gs0x1GDUYzWMB8GA1UdIwQYMBaAFBaHnps9viYb\n" \
"hwE59gs0x1GDUYzWMA8GA1UdEwEB/wQFMAMBAf8wDQYJKoZIhvcNAQELBQADggEB\n" \
"AErthkRpxMH2jLPZrSvYPerdgWyxIsZJx1SM78HS4NrafWNLm2HcCktHnJ8ytumK\n" \
"3brTV1M77Q5RhpN1HB3439LytIf8uKmvhAkRCJSZVe7T9Rd1b3jyDKMWYVquXhMh\n" \
"qrzOVgLPkFzkzhjvO2wnmyhxzJeOjZyhsf6EZ0P2yZZRBt+ZbDqgs7hJwQkZXYSl\n" \
"HjBWjRTQzIPwJugq+EHOqD0Hq68g38qNJBWjWQ34jeb82J7mA3P64cU0VLsHDO0z\n" \
"u3hLx4NAGWiofKhNPhK7GrKPKYVhLaphTjwyxA3cyRFTbLB2t9INsw3yI+MVlsSN\n" \
"UIp1qm7B6SSuD2+d9IDowz0=\n" \
"-----END CERTIFICATE-----\n" \
```

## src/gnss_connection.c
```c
#include <zephyr/logging/log.h>
#include <nrf_modem_gnss.h>
#include <net/nrf_cloud.h>
#include <net/nrf_cloud_agnss.h>
#include <net/nrf_cloud_rest.h>
#include <modem/modem_info.h>
#include <modem/modem_jwt.h>
#include "gnss_connection.h"

#define PPS


LOG_MODULE_DECLARE(FishIoT);


//GNSS
int64_t gnss_start_time;
//PVT data frame variables,
struct nrf_modem_gnss_pvt_data_frame pvt_data;
/*Helper variables to find the TTFF */
uint8_t first_fix = false;




static char recv_buffer[2048];
static char agps_data_buf[3500];
static char jwt_buf[600];

static char str[150];
void data_formatter(struct nrf_modem_gnss_pvt_data_frame *pvt_data){
	memset(str, 0, sizeof(str));
	strcat(str, "Latitude: ");
	char temporary[20];
	strcat(str, "\r\nLongitude: ");
	sprintf(temporary, "%.06f", pvt_data->longitude);
	strcat(str, temporary);
	
	sprintf(temporary, "%.06f", pvt_data->latitude);	
	strcat(str, temporary);


	strcat(str, "\r\nAltitude: ");
	sprintf(temporary, "%.01f", pvt_data->altitude);
	strcat(str, temporary);
}


void print_fix_data(struct nrf_modem_gnss_pvt_data_frame *pvt_data)
{
	LOG_INF("Latitude:       %.06f", pvt_data->latitude);
	LOG_INF("Longitude:      %.06f", pvt_data->longitude);
	LOG_INF("Altitude:       %.01f m", pvt_data->altitude);
	LOG_INF("Time (UTC):     %02u:%02u:%02u.%03u",
	       pvt_data->datetime.hour,
	       pvt_data->datetime.minute,
	       pvt_data->datetime.seconds,
	       pvt_data->datetime.ms);
}


int agps_receive_process_data(void){
    
    int err;

    struct nrf_cloud_rest_agnss_request nrf_agps_requst_struct = {
		.type = NRF_CLOUD_REST_AGNSS_REQ_ASSISTANCE,
		.agnss_req = NULL,
		.net_info = NULL,
	};

	struct nrf_cloud_rest_context nrf_rest_struct = {
		.connect_socket = -1,
		.keep_alive = false,
		.timeout_ms = NRF_CLOUD_REST_TIMEOUT_NONE,
		.auth = jwt_buf,
		.rx_buf = recv_buffer,
		.rx_buf_len = sizeof(recv_buffer),
		.fragment_size = 0, /* Defaults to CONFIG_NRF_CLOUD_REST_FRAGMENT_SIZE when 0 */
		.status = 0,
		.response = NULL,
		.response_len = 0,
		.total_response_len = 0
	};
	struct nrf_cloud_rest_agnss_result result = {
		.buf = agps_data_buf,
		.buf_sz = sizeof(agps_data_buf),
		.agnss_sz = 0
	};




    err = nrf_cloud_jwt_generate(0, jwt_buf, sizeof(jwt_buf));
	if (err) {
		LOG_ERR("Failed to generate JWT, error: %d", err);
        return 1;
	}
	LOG_INF("Generated JWT successfully!");

	LOG_INF("Requesting AGPS Data...");
	err = nrf_cloud_rest_agnss_data_get(&nrf_rest_struct, &nrf_agps_requst_struct, &result);
	if(err)
	{
		LOG_ERR("Unsuccessful rest data get, error %d", err);
        return 1;
	}
	LOG_INF("%s",recv_buffer);

	LOG_INF("Starting to process AGPS data...");
	err = nrf_cloud_agnss_process(result.buf, result.agnss_sz);
	if(err)
	{
		LOG_ERR("Unable to parse the the AGPS");
        return 1;
	}
	LOG_INF("Successfully parsed AGPS");
    return 0;
}


int gnss_init_and_start(void)
{

	/* Set the modem mode to normal */
	if (lte_lc_func_mode_set(LTE_LC_FUNC_MODE_NORMAL) != 0) {
		LOG_ERR("Failed to activate GNSS functional mode");
		return 1;
	}

	if (nrf_modem_gnss_event_handler_set(gnss_event_handler) != 0) {
		LOG_ERR("Failed to set GNSS event handler");
		return 1;
	}

	if (nrf_modem_gnss_fix_interval_set(CONFIG_GNSS_PERIODIC_INTERVAL) != 0) {
		LOG_ERR("Failed to set GNSS fix interval");
		return 1;
	}

	if (nrf_modem_gnss_fix_retry_set(CONFIG_GNSS_PERIODIC_TIMEOUT) != 0) {
		LOG_ERR("Failed to set GNSS fix retry");
		return 1;
	}

#ifdef PPS
	struct nrf_modem_gnss_1pps_config pps_config = {
    .pulse_interval = 1,
    .pulse_width = 100,
    .apply_start_time = false
	};

	int err = nrf_modem_gnss_1pps_enable(&pps_config);
	if(err){
		LOG_INF("Failed to enable 1pps");
	}
#endif

	LOG_INF("Starting GNSS");
	if (nrf_modem_gnss_start() != 0) {
		LOG_ERR("Failed to start GNSS");
		return 1;
	}

	gnss_start_time = k_uptime_get();

	return 0;
}
```

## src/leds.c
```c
#include "leds.h"


static struct gpio_callback button_cb_data;
static const struct gpio_dt_spec button1 = GPIO_DT_SPEC_GET(SW0_NODE, gpios);
static const struct gpio_dt_spec button2 = GPIO_DT_SPEC_GET(SW1_NODE, gpios);
static const struct gpio_dt_spec led0 = GPIO_DT_SPEC_GET(LED0_NODE, gpios);
static const struct gpio_dt_spec led1 = GPIO_DT_SPEC_GET(LED1_NODE, gpios);
static const struct gpio_dt_spec led2 = GPIO_DT_SPEC_GET(LED2_NODE, gpios);
static const struct gpio_dt_spec led3 = GPIO_DT_SPEC_GET(LED3_NODE, gpios);

void LED_ERROR_CODE(uint8_t LED_ERROR)
{
	uint8_t led0_val = 0, led1_val = 0 , led2_val = 0,led3_val = 0;
	switch(LED_ERROR){
		//dec value: 1
		case RTC_INIT_ERROR:
			led0_val = 1;
			break;
		//dev calue: 2
		case ADC_INIT_ERROR:
			led1_val = 1;
			break;
		//dev calue: 3
		case LTE_NETWORK_CONNECT_ERROR:
			led0_val = 1;
			led1_val = 1;
			break;
		//dev calue: 4
		case RS485_INIT_ERROR:
			led2_val = 1;
			break;
		//dev calue: 5
		case AGPS_RECEIVE_ERROR:
			led0_val = 1;
			led2_val = 1;
			break;
		//dev calue: 6
		case GNSS_INIT_ERROR:
			led1_val = 1;
			led2_val = 1;
			break;
		//dev calue: 7
		case MQTT_CONNECT_ERROR:
			led0_val = 1;
			led1_val = 1;
			led2_val = 1;
			break;
		//dev calue: 8
		case MQTT_LIVE_ERROR:
			led3_val = 1;
			break;
		//dev calue: 9
		case MQTT_INPUT_ERROR:
			led0_val = 1;
			led3_val = 1;
			break;
		//dev calue: 10
		case MQTT_PUBLISH_ERROR:
			led1_val = 1;
			led3_val = 1;
			break;
		default:
			break;
	}
	gpio_pin_set_dt(&led0,led0_val);
	gpio_pin_set_dt(&led1,led1_val);
	gpio_pin_set_dt(&led2,led2_val);
	gpio_pin_set_dt(&led3,led3_val);

}


uint8_t led_button_init(void){

	uint8_t ret;

	if (!gpio_is_ready_dt(&led0)) {
		return -1;
	}

	if (!gpio_is_ready_dt(&led1)) {
		return -1;
	}

	if (!gpio_is_ready_dt(&led2)) {
		return -1;
	}
	if (!gpio_is_ready_dt(&led3)) {
		return -1;
	}

	if (!gpio_is_ready_dt(&button1)) {
		return -1;
	}

	if (!gpio_is_ready_dt(&button2)) {
		return -1;
	}


	ret = gpio_pin_configure_dt(&led0, GPIO_OUTPUT_ACTIVE);
	if (ret < 0) {
		return -1;
	}

	ret = gpio_pin_configure_dt(&led1, GPIO_OUTPUT_ACTIVE);
	if (ret < 0) {
		return -1;
	}

	ret = gpio_pin_configure_dt(&led2, GPIO_OUTPUT_ACTIVE);
	if (ret < 0) {
		return -1;
	}
	ret = gpio_pin_configure_dt(&led3, GPIO_OUTPUT_ACTIVE);
	if (ret < 0) {
		return -1;
	}

	/* STEP 5 - Configure the pin connected to the button to be an input pin and set its hardware specifications */
	ret = gpio_pin_configure_dt(&button1, GPIO_INPUT);
	if (ret < 0) {
		return -1;
	}
	ret = gpio_pin_configure_dt(&button2, GPIO_INPUT);
	if (ret < 0) {
		return -1;
	}

	ret = gpio_pin_interrupt_configure_dt(&button1, GPIO_INT_EDGE_TO_ACTIVE);
	ret = gpio_pin_interrupt_configure_dt(&button2, GPIO_INT_EDGE_TO_ACTIVE);

    gpio_init_callback(&button_cb_data, button_pressed, BIT(button1.pin)); 	
    gpio_init_callback(&button_cb_data, button_pressed, BIT(button2.pin)); 	

	gpio_add_callback(button1.port, &button_cb_data);
	gpio_add_callback(button2.port, &button_cb_data);

	return 0;
}


void LED_ON(uint8_t LED){
    switch(LED){
        case BOARD_LED0:
	        gpio_pin_set_dt(&led0,false);
            break;
        case BOARD_LED1:
	        gpio_pin_set_dt(&led1,false);
            break;
        case BOARD_LED2:
	        gpio_pin_set_dt(&led2,false);
            break;
        case BOARD_LED3:
            gpio_pin_set_dt(&led3,false);
            break;  
        default:
            break;
    }
}

void LED_OFF(uint8_t LED){
    switch(LED){
        case BOARD_LED0:
	        gpio_pin_set_dt(&led0,true);
            break;
        case BOARD_LED1:
	        gpio_pin_set_dt(&led1,true);
            break;
        case BOARD_LED2:
	        gpio_pin_set_dt(&led2,true);
            break;
        case BOARD_LED3:
            gpio_pin_set_dt(&led3,true);
            break;  
        default:
            break;
    }
}
```

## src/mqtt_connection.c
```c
#include <stdio.h>
#include <string.h>

#include <zephyr/kernel.h>
#include <zephyr/random/rand32.h>
#include <zephyr/net/socket.h>
#include <zephyr/net/mqtt.h>
#include <nrf_modem_at.h>
#include <zephyr/logging/log.h>
// #include <dk_buttons_and_leds.h>
#include "mqtt_connection.h"


/* Buffers for MQTT client. */
static uint8_t rx_buffer[CONFIG_MQTT_MESSAGE_BUFFER_SIZE];
static uint8_t tx_buffer[CONFIG_MQTT_MESSAGE_BUFFER_SIZE];

/* MQTT Broker details. */
static struct sockaddr_storage broker;

LOG_MODULE_DECLARE(FishIoT);


/**@brief Function to print strings without null-termination
 */
static void data_print(uint8_t *prefix, uint8_t *data, size_t len)
{
	char buf[len + 1];

	memcpy(buf, data, len);
	buf[len] = 0;
	LOG_INF("%s%s", (char *)prefix, (char *)buf);
}

/**@brief Function to publish data on the configured topic
 */
/* STEP 7.1 - Define the function data_publish() to publish data */
int data_publish(struct mqtt_client *c, enum mqtt_qos qos,
	uint8_t *data, size_t len)
{
	struct mqtt_publish_param param;
	param.message.topic.qos = qos;
	param.message.topic.topic.utf8 = CONFIG_MQTT_PUB_TOPIC;
	param.message.topic.topic.size = strlen(CONFIG_MQTT_PUB_TOPIC);
	param.message.payload.data = data;
	param.message.payload.len = len;
	param.message_id = sys_rand32_get();
	param.dup_flag = 0;
	param.retain_flag = 0;
	data_print("Publishing: ", data, len);
	LOG_INF("to topic: %s len: %u",
		CONFIG_MQTT_PUB_TOPIC,
		(unsigned int)strlen(CONFIG_MQTT_PUB_TOPIC));
	return mqtt_publish(c, &param);
}


/**@brief MQTT client event handler
 */
void mqtt_evt_handler(struct mqtt_client *const c,
		      const struct mqtt_evt *evt)
{
	switch (evt->type) {
	case MQTT_EVT_CONNACK:
	/* STEP 5 - Subscribe to the topic CONFIG_MQTT_SUB_TOPIC when we have a successful connection */
		if (evt->result != 0) {
			LOG_ERR("MQTT connect failed: %d", evt->result);
			break;
		}
		LOG_INF("MQTT client connected");
		// subscribe(c);
		break;

	case MQTT_EVT_DISCONNECT:
		LOG_INF("MQTT client disconnected: %d", evt->result);
		break;

	case MQTT_EVT_PUBACK:
		if (evt->result != 0) {
			LOG_ERR("MQTT PUBACK error: %d", evt->result);
			break;
		}

		LOG_INF("PUBACK packet id: %u", evt->param.puback.message_id);
		break;

	case MQTT_EVT_SUBACK:
		if (evt->result != 0) {
			LOG_ERR("MQTT SUBACK error: %d", evt->result);
			break;
		}

		LOG_INF("SUBACK packet id: %u", evt->param.suback.message_id);
		break;

	case MQTT_EVT_PINGRESP:
		if (evt->result != 0) {
			LOG_ERR("MQTT PINGRESP error: %d", evt->result);
		}
		break;

	default:
		LOG_INF("Unhandled MQTT event type: %d", evt->type);
		break;
	}
}

/**@brief Resolves the configured hostname and
 * initializes the MQTT broker structure
 */
static int broker_init(void)
{
	int err;
	struct addrinfo *result;
	struct addrinfo *addr;
	struct addrinfo hints = {
		.ai_family = AF_INET,
		.ai_socktype = SOCK_STREAM
	};

	err = getaddrinfo(CONFIG_MQTT_BROKER_HOSTNAME, NULL, &hints, &result);
	if (err) {
		LOG_ERR("getaddrinfo failed: %d", err);
		return -ECHILD;
	}

	addr = result;

	/* Look for address of the broker. */
	while (addr != NULL) {
		/* IPv4 Address. */
		if (addr->ai_addrlen == sizeof(struct sockaddr_in)) {
			struct sockaddr_in *broker4 =
				((struct sockaddr_in *)&broker);
			char ipv4_addr[NET_IPV4_ADDR_LEN];

			broker4->sin_addr.s_addr =
				((struct sockaddr_in *)addr->ai_addr)
				->sin_addr.s_addr;
			broker4->sin_family = AF_INET;
			broker4->sin_port = htons(CONFIG_MQTT_BROKER_PORT);

			inet_ntop(AF_INET, &broker4->sin_addr.s_addr,
				  ipv4_addr, sizeof(ipv4_addr));
			LOG_INF("IPv4 Address found %s", (char *)(ipv4_addr));

			break;
		} else {
			LOG_ERR("ai_addrlen = %u should be %u or %u",
				(unsigned int)addr->ai_addrlen,
				(unsigned int)sizeof(struct sockaddr_in),
				(unsigned int)sizeof(struct sockaddr_in6));
		}

		addr = addr->ai_next;
	}

	/* Free the address. */
	freeaddrinfo(result);

	return err;
}

/* Function to get the client id */
static const uint8_t* client_id_get(void)
{
	static uint8_t client_id[MAX(sizeof(CONFIG_MQTT_CLIENT_ID),
				     CLIENT_ID_LEN)];

	if (strlen(CONFIG_MQTT_CLIENT_ID) > 0) {
		snprintf(client_id, sizeof(client_id), "%s",
			 CONFIG_MQTT_CLIENT_ID);
		goto exit;
	}

	char imei_buf[CGSN_RESPONSE_LENGTH + 1];
	int err;

	err = nrf_modem_at_cmd(imei_buf, sizeof(imei_buf), "AT+CGSN");
	if (err) {
		LOG_ERR("Failed to obtain IMEI, error: %d", err);
		goto exit;
	}

	imei_buf[IMEI_LEN] = '\0';

	snprintf(client_id, sizeof(client_id), "nrf-%.*s", IMEI_LEN, imei_buf);

exit:
	LOG_DBG("client_id = %s", (char *)(client_id));

	return client_id;
}


/**@brief Initialize the MQTT client structure
 */
/* STEP 3 - Define the function client_init() to initialize the MQTT client instance.  */
int client_init(struct mqtt_client *client)
{
	int err;
	/* initializes the client instance. */
	mqtt_client_init(client);
	/* Resolves the configured hostname and initializes the MQTT broker structure */
	err = broker_init();
	if (err) {
		LOG_ERR("Failed to initialize broker connection");
		return err;
	}
	/* MQTT client configuration */
	client->broker = &broker;
	client->evt_cb = mqtt_evt_handler;
	client->client_id.utf8 = client_id_get();
	client->client_id.size = strlen(client->client_id.utf8);
	client->password = NULL;
	client->user_name = NULL;
	client->protocol_version = MQTT_VERSION_3_1_1;
	/* MQTT buffers configuration */
	client->rx_buf = rx_buffer;
	client->rx_buf_size = sizeof(rx_buffer);
	client->tx_buf = tx_buffer;
	client->tx_buf_size = sizeof(tx_buffer);
	/* We are not using TLS in Exercise 1 */
	client->transport.type = MQTT_TRANSPORT_NON_SECURE;
	return err;
}

/**@brief Initialize the file descriptor structure used by poll.
 */
int fds_init(struct mqtt_client *c, struct pollfd *fds)
{
	if (c->transport.type == MQTT_TRANSPORT_NON_SECURE) {
		fds->fd = c->transport.tcp.sock;
	} else {
		return -ENOTSUP;
	}

	fds->events = POLLIN;

	return 0;
}
```

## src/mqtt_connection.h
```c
#ifndef _MQTTCONNECTION_H_
#define _MQTTCONNECTION_H_
#define LED_CONTROL_OVER_MQTT          DK_LED1 /*The LED to control over MQTT*/
#define IMEI_LEN 15
#define CGSN_RESPONSE_LENGTH (IMEI_LEN + 6 + 1) /* Add 6 for \r\nOK\r\n and 1 for \0 */
#define CLIENT_ID_LEN sizeof("nrf-") + IMEI_LEN


/**@brief Initialize the MQTT client structure
 */
int client_init(struct mqtt_client *client);

/**@brief Initialize the file descriptor structure used by poll.
 */
int fds_init(struct mqtt_client *c, struct pollfd *fds);

/**@brief Function to publish data on the configured topic
 */
int data_publish(struct mqtt_client *c, enum mqtt_qos qos,
	uint8_t *data, size_t len);

/**@brief Function to write the server x.509 root certificate to the modem 
 */
int certificate_provision(void);
#endif /* _CONNECTION_H_ */
```
